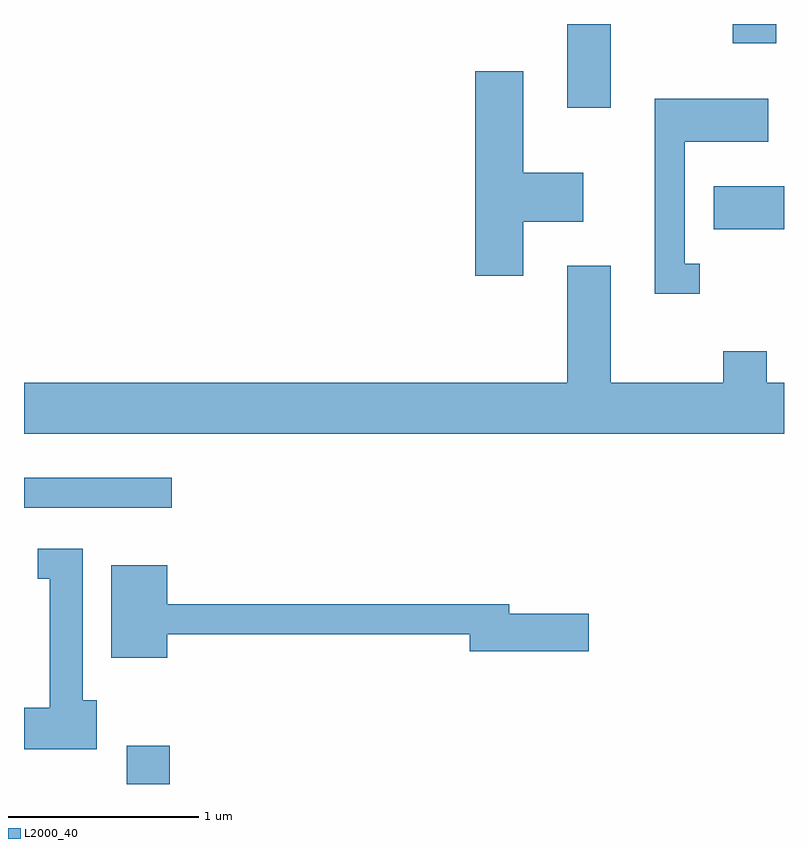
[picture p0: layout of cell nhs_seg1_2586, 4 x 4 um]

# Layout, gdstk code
import gdstk
lib = gdstk.Library(unit=1e-6, precision=1e-09)
def R(c, l, rs):  # rectangles x0, y0, x1, y1
    for r in rs: c.add(gdstk.rectangle(r[:2], r[2:], *l))
def P(c, l, *ps):  # polygons
    for p in ps: c.add(gdstk.Polygon(p, *l))
L2000_40 = (2000, 40)

nhs_seg1_2586 = lib.new_cell('nhs_seg1_2586')
R(nhs_seg1_2586, L2000_40, [(264.151,917.712,264.379,917.914), (263.611,919.166,264.388,919.324), (267.241,920.631,267.611,920.859), (266.471,921.271,266.699,921.712), (267.341,921.611,267.569,921.712)])
P(nhs_seg1_2586, L2000_40, [(266.239,920.671),(266.554,920.671),(266.554,920.929),(266.239,920.929),(266.239,921.464),(265.986,921.464),(265.986,920.386),(266.239,920.386)],
  [(267.168,920.449),(267.089,920.449),(267.089,921.091),(267.529,921.091),(267.529,921.319),(266.931,921.319),(266.931,920.291),(267.168,920.291)],
  [(267.611,919.824),(267.519,919.824),(267.519,919.989),(267.291,919.989),(267.291,919.824),(266.699,919.824),(266.699,920.439),(266.471,920.439),(266.471,919.824),(263.611,919.824),(263.611,919.556),(267.611,919.556)],
  [(263.994,918.154),(263.919,918.154),(263.919,918.949),(263.683,918.949),(263.683,918.791),(263.746,918.791),(263.746,918.114),(263.611,918.114),(263.611,917.896),(263.994,917.896)],
  [(264.364,918.501),(265.956,918.501),(265.956,918.411),(266.584,918.411),(266.584,918.609),(266.164,918.609),(266.164,918.659),(264.364,918.659),(264.364,918.864),(264.071,918.864),(264.071,918.376),(264.364,918.376)])

lib.write_gds('nhs_seg1_2586.gds')
